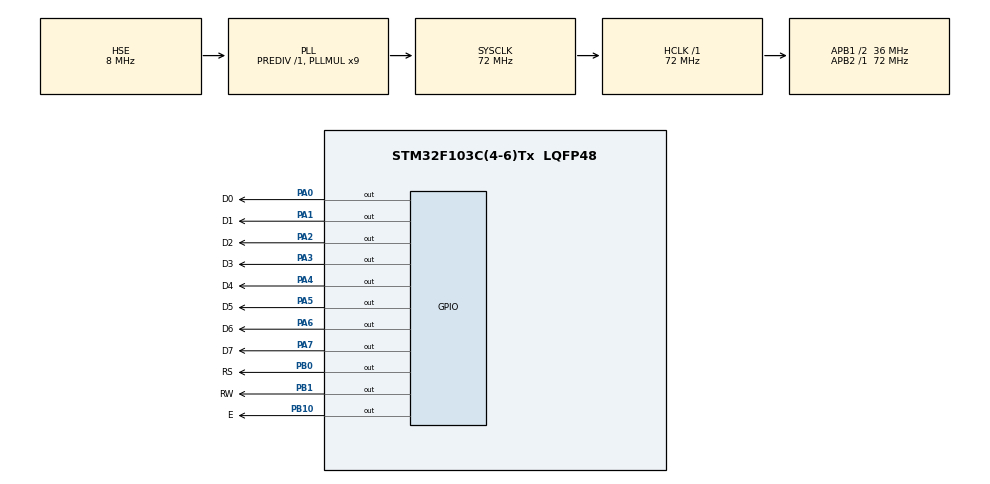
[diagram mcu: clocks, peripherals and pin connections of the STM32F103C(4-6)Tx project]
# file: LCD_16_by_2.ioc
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Mcu.Family=STM32F1
Mcu.Name=STM32F103C(4-6)Tx
Mcu.Package=LQFP48
NVIC.PriorityGroup=NVIC_PRIORITYGROUP_4
PA0-WKUP.GPIO_Label=D0
PA0-WKUP.Signal=GPIO_Output
PA1.GPIO_Label=D1
PA1.Signal=GPIO_Output
PA13.Mode=Serial_Wire
PA13.Signal=SYS_JTMS-SWDIO
PA14.Mode=Serial_Wire
PA14.Signal=SYS_JTCK-SWCLK
PA2.GPIO_Label=D2
PA2.Signal=GPIO_Output
PA3.GPIO_Label=D3
PA3.Signal=GPIO_Output
PA4.GPIO_Label=D4
PA4.Signal=GPIO_Output
PA5.GPIO_Label=D5
PA5.Signal=GPIO_Output
PA6.GPIO_Label=D6
PA6.Signal=GPIO_Output
PA7.GPIO_Label=D7
PA7.Signal=GPIO_Output
PB0.GPIO_Label=RS
PB0.Signal=GPIO_Output
PB1.GPIO_Label=RW
PB1.Signal=GPIO_Output
PB10.GPIO_Label=E
PB10.Signal=GPIO_Output
PD0-OSC_IN.Mode=HSE-External-Oscillator
PD0-OSC_IN.Signal=RCC_OSC_IN
PD1-OSC_OUT.Mode=HSE-External-Oscillator
PD1-OSC_OUT.Signal=RCC_OSC_OUT
ProjectManager.HeapSize=0x200
ProjectManager.StackSize=0x400
ProjectManager.TargetToolchain=STM32CubeIDE
RCC.AHBFreq_Value=72000000
RCC.APB1CLKDivider=RCC_HCLK_DIV2
RCC.APB1Freq_Value=36000000
RCC.APB1TimFreq_Value=72000000
RCC.APB2Freq_Value=72000000
RCC.APB2TimFreq_Value=72000000
RCC.HCLKFreq_Value=72000000
RCC.PLLMUL=RCC_PLL_MUL9
RCC.PLLSourceVirtual=RCC_PLLSOURCE_HSE
RCC.SYSCLKFreq_VALUE=72000000
RCC.SYSCLKSource=RCC_SYSCLKSOURCE_PLLCLK
RCC.USBFreq_Value=72000000
board=custom

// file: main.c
/* USER CODE BEGIN Header */
/**
  ******************************************************************************
  * @file           : main.c
  * @brief          : Main program body
  ******************************************************************************
  * @attention
  *
  * Copyright (c) 2023 STMicroelectronics.
  * All rights reserved.
  *
  * This software is licensed under terms that can be found in the LICENSE file
  * in the root directory of this software component.
  * If no LICENSE file comes with this software, it is provided AS-IS.
  *
  ******************************************************************************
  */
/* USER CODE END Header */
#include "main.h"

/* USER CODE BEGIN Includes */
#include <stdlib.h>
#include <stdbool.h>
/* USER CODE END Includes */

void SystemClock_Config(void);
static void MX_GPIO_Init(void);
/* USER CODE BEGIN PFP */
void Config_LCD(uint8_t clear_CMD, uint8_t function_SET,uint8_t display_Ctrl, uint8_t return_CMD);
void Clear_LCD(uint8_t cmd);
void Function_Set(uint8_t cmd);
void Display_Control(uint8_t cmd);
void Return_Home(uint8_t cmd);
void Write_LCD_Data(char data[]);
void Set_Cursor(uint8_t cmd);
void Blink_Cursor(uint8_t cmd);
/* USER CODE END PFP */

int main(void)
{

  /* MCU Configuration--------------------------------------------------------*/

  /* Reset of all peripherals, Initializes the Flash interface and the Systick. */
  HAL_Init();

  /* Configure the system clock */
  SystemClock_Config();

  /* Initialize all configured peripherals */
  MX_GPIO_Init();
  /* USER CODE BEGIN 2 */
  Function_Set(0x38);//8-bit data, 2-lines
  Clear_LCD(0x01);//clear the display
  Display_Control(0x0c); //Enable the display
  Return_Home(0x02); //Set cursor at address 0x00, line-1
  char * msg = "ENSA MARRAKECH.";
  Write_LCD_Data(msg); //Write data
  Set_Cursor(0xC0);// Set cursor at line-2
  Write_LCD_Data("I'm home Buddies");//write data to the screen
  HAL_Delay(2000);
  Set_Cursor(0x02); //Set cursor to home. Equivalent to Return_Home(cmd)
  Write_LCD_Data("Patricia Aboraa"); //Write data
  /* USER CODE END 2 */

  /* Infinite loop */
  while (1)
  {

  }
}

void SystemClock_Config(void)
{
  RCC_OscInitTypeDef RCC_OscInitStruct = {0};
  RCC_ClkInitTypeDef RCC_ClkInitStruct = {0};

  /** Initializes the RCC Oscillators according to the specified parameters
  * in the RCC_OscInitTypeDef structure.
  */
  RCC_OscInitStruct.OscillatorType = RCC_OSCILLATORTYPE_HSE;
  RCC_OscInitStruct.HSEState = RCC_HSE_ON;
  RCC_OscInitStruct.HSEPredivValue = RCC_HSE_PREDIV_DIV1;
  RCC_OscInitStruct.HSIState = RCC_HSI_ON;
  RCC_OscInitStruct.PLL.PLLState = RCC_PLL_ON;
  RCC_OscInitStruct.PLL.PLLSource = RCC_PLLSOURCE_HSE;
  RCC_OscInitStruct.PLL.PLLMUL = RCC_PLL_MUL9;
  if (HAL_RCC_OscConfig(&RCC_OscInitStruct) != HAL_OK)
  {
    Error_Handler();
  }

  /** Initializes the CPU, AHB and APB buses clocks
  */
  RCC_ClkInitStruct.ClockType = RCC_CLOCKTYPE_HCLK|RCC_CLOCKTYPE_SYSCLK
                              |RCC_CLOCKTYPE_PCLK1|RCC_CLOCKTYPE_PCLK2;
  RCC_ClkInitStruct.SYSCLKSource = RCC_SYSCLKSOURCE_PLLCLK;
  RCC_ClkInitStruct.AHBCLKDivider = RCC_SYSCLK_DIV1;
  RCC_ClkInitStruct.APB1CLKDivider = RCC_HCLK_DIV2;
  RCC_ClkInitStruct.APB2CLKDivider = RCC_HCLK_DIV1;

  if (HAL_RCC_ClockConfig(&RCC_ClkInitStruct, FLASH_LATENCY_2) != HAL_OK)
  {
    Error_Handler();
  }
}

static void MX_GPIO_Init(void)
{
  GPIO_InitTypeDef GPIO_InitStruct = {0};

  /* GPIO Ports Clock Enable */
  __HAL_RCC_GPIOD_CLK_ENABLE();
  __HAL_RCC_GPIOA_CLK_ENABLE();
  __HAL_RCC_GPIOB_CLK_ENABLE();

  /*Configure GPIO pin Output Level */
  HAL_GPIO_WritePin(GPIOA, D0_Pin|D1_Pin|D2_Pin|D3_Pin
                          |D4_Pin|D5_Pin|D6_Pin|D7_Pin, GPIO_PIN_RESET);

  /*Configure GPIO pin Output Level */
  HAL_GPIO_WritePin(GPIOB, RS_Pin|RW_Pin|E_Pin, GPIO_PIN_RESET);

  /*Configure GPIO pins : D0_Pin D1_Pin D2_Pin D3_Pin
                           D4_Pin D5_Pin D6_Pin D7_Pin */
  GPIO_InitStruct.Pin = D0_Pin|D1_Pin|D2_Pin|D3_Pin
                          |D4_Pin|D5_Pin|D6_Pin|D7_Pin;
  GPIO_InitStruct.Mode = GPIO_MODE_OUTPUT_PP;
  GPIO_InitStruct.Pull = GPIO_NOPULL;
  GPIO_InitStruct.Speed = GPIO_SPEED_FREQ_LOW;
  HAL_GPIO_Init(GPIOA, &GPIO_InitStruct);

  /*Configure GPIO pins : RS_Pin RW_Pin E_Pin */
  GPIO_InitStruct.Pin = RS_Pin|RW_Pin|E_Pin;
  GPIO_InitStruct.Mode = GPIO_MODE_OUTPUT_PP;
  GPIO_InitStruct.Pull = GPIO_NOPULL;
  GPIO_InitStruct.Speed = GPIO_SPEED_FREQ_LOW;
  HAL_GPIO_Init(GPIOB, &GPIO_InitStruct);

}

/* USER CODE BEGIN 4 */
void Write_LCD_Data(char data[]){
	HAL_GPIO_WritePin(RS_GPIO_Port, RS_Pin, SET);
	HAL_Delay(1);
	int i = 0;
	while(data[i] != '\0'){
		GPIOA->ODR =(uint32_t)data[i];
		HAL_GPIO_WritePin(E_GPIO_Port, E_Pin,SET);
		HAL_Delay(1);
		HAL_GPIO_WritePin(E_GPIO_Port, E_Pin,RESET);
//		HAL_Delay(1);
		i++;
	}
	HAL_GPIO_WritePin(RS_GPIO_Port, RS_Pin, RESET);
	HAL_Delay(1);
};
void Clear_LCD(uint8_t cmd){
	HAL_GPIO_WritePin(RS_GPIO_Port, RS_Pin, RESET);
	GPIOA->ODR = cmd;
	HAL_Delay(1);
}

void Function_Set(uint8_t cmd){
	HAL_GPIO_WritePin(RS_GPIO_Port, RS_Pin, RESET);
	HAL_Delay(1);
	GPIOA->ODR = cmd;
	HAL_GPIO_WritePin(E_GPIO_Port, E_Pin, SET);
	HAL_Delay(1);
	HAL_GPIO_WritePin(E_GPIO_Port, E_Pin, RESET);
}

void Display_Control(uint8_t cmd){
	HAL_GPIO_WritePin(RS_GPIO_Port, RS_Pin, RESET);
	HAL_Delay(1);
	GPIOA->ODR = cmd;
	HAL_GPIO_WritePin(E_GPIO_Port, E_Pin, SET);
	HAL_Delay(1);
	HAL_GPIO_WritePin(E_GPIO_Port, E_Pin, RESET);

}

void Return_Home(uint8_t cmd){
	HAL_GPIO_WritePin(RS_GPIO_Port, RS_Pin, RESET);
	HAL_Delay(1);
	GPIOA->ODR = cmd;
	HAL_GPIO_WritePin(E_GPIO_Port, E_Pin, SET);
	HAL_Delay(1);
	HAL_GPIO_WritePin(E_GPIO_Port, E_Pin, RESET);
}

void Set_Cursor(uint8_t cmd){
	HAL_GPIO_WritePin(RS_GPIO_Port, RS_Pin, RESET);
	HAL_Delay(1);
	GPIOA->ODR = cmd;
	HAL_GPIO_WritePin(E_GPIO_Port, E_Pin, SET);
	HAL_Delay(1);
	HAL_GPIO_WritePin(E_GPIO_Port, E_Pin, RESET);
}

void Blink_Cursor(uint8_t cmd){
	HAL_GPIO_WritePin(RS_GPIO_Port, RS_Pin, RESET);
	HAL_Delay(1);
	GPIOA->ODR = cmd;
	HAL_GPIO_WritePin(E_GPIO_Port, E_Pin, SET);
	HAL_Delay(1);
	HAL_GPIO_WritePin(E_GPIO_Port, E_Pin, RESET);
}
/* USER CODE END 4 */

void Error_Handler(void)
{
  __disable_irq();
  while (1)
  {
  }
}
